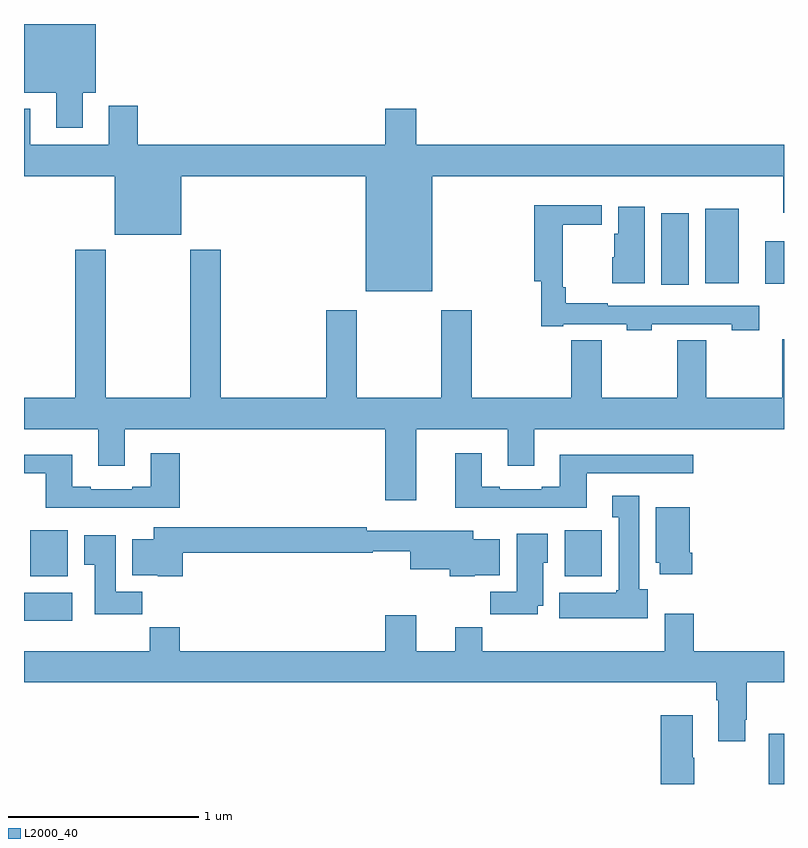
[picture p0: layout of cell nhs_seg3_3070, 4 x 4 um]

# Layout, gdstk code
import gdstk
lib = gdstk.Library(unit=1e-6, precision=1e-09)
def R(c, l, rs):  # rectangles x0, y0, x1, y1
    for r in rs: c.add(gdstk.rectangle(r[:2], r[2:], *l))
def P(c, l, *ps):  # polygons
    for p in ps: c.add(gdstk.Polygon(p, *l))
L2000_40 = (2000, 40)

nhs_seg3_3070 = lib.new_cell('nhs_seg3_3070')
R(nhs_seg3_3070, L2000_40, [(274.92,680.4,275,680.665), (271,681.26,271.255,681.406), (271.034,681.494,271.231,681.736), (273.845,681.494,274.042,681.736), (274.355,683.028,274.498,683.404), (274.901,683.033,275,683.257), (274.586,683.036,274.762,683.428)])
P(nhs_seg3_3070, L2000_40, [(271.309,684.038),(271.378,684.038),(271.378,684.4),(271,684.4),(271,684.038),(271.169,684.038),(271.169,683.853),(271.309,683.853)],
  [(273.148,683.6),(274.997,683.6),(274.997,683.406),(275,683.406),(275,683.764),(273.064,683.764),(273.064,683.953),(272.9,683.953),(272.9,683.764),(271.598,683.764),(271.598,683.971),(271.445,683.971),(271.445,683.764),(271.033,683.764),(271.033,683.953),(271,683.953),(271,683.6),(271.478,683.6),(271.478,683.291),(271.828,683.291),(271.828,683.6),(272.798,683.6),(272.798,682.994),(273.148,682.994)],
  [(274.305,682.821),(274.725,682.821),(274.725,682.789),(274.87,682.789),(274.87,682.917),(274.073,682.917),(274.073,682.93),(273.851,682.93),(273.851,683.014),(273.836,683.014),(273.836,683.344),(274.042,683.344),(274.042,683.446),(273.686,683.446),(273.686,683.045),(273.723,683.045),(273.723,682.809),(273.838,682.809),(273.838,682.821),(274.173,682.821),(274.173,682.789),(274.305,682.789)],
  [(274.267,683.437),(274.127,683.437),(274.127,683.295),(274.106,683.295),(274.106,683.172),(274.097,683.172),(274.097,683.036),(274.267,683.036)],
  [(273.064,682.268),(273.545,682.268),(273.545,682.074),(273.685,682.074),(273.685,682.268),(275,682.268),(275,682.741),(274.99,682.741),(274.99,682.432),(274.592,682.432),(274.592,682.736),(274.438,682.736),(274.438,682.432),(274.04,682.432),(274.04,682.736),(273.881,682.736),(273.881,682.432),(273.356,682.432),(273.356,682.894),(273.196,682.894),(273.196,682.432),(272.751,682.432),(272.751,682.894),(272.591,682.894),(272.591,682.432),(272.036,682.432),(272.036,683.212),(271.876,683.212),(271.876,682.432),(271.431,682.432),(271.431,683.212),(271.271,683.212),(271.271,682.432),(271,682.432),(271,682.268),(271.391,682.268),(271.391,682.074),(271.531,682.074),(271.531,682.268),(272.9,682.268),(272.9,681.894),(273.064,681.894)],
  [(271.82,682.141),(271.667,682.141),(271.667,681.964),(271.571,681.964),(271.571,681.951),(271.351,681.951),(271.351,681.964),(271.255,681.964),(271.255,682.132),(271,682.132),(271,682.035),(271.115,682.035),(271.115,681.854),(271.82,681.854)],
  [(273.961,682.035),(274.522,682.035),(274.522,682.132),(273.821,682.132),(273.821,681.964),(273.725,681.964),(273.725,681.951),(273.505,681.951),(273.505,681.964),(273.409,681.964),(273.409,682.141),(273.269,682.141),(273.269,681.854),(273.961,681.854)],
  [(274.282,681.426),(274.237,681.426),(274.237,681.916),(274.097,681.916),(274.097,681.803),(274.13,681.803),(274.13,681.42),(274.117,681.42),(274.117,681.406),(273.818,681.406),(273.818,681.272),(274.282,681.272)],
  [(274.517,681.616),(274.504,681.616),(274.504,681.856),(274.325,681.856),(274.325,681.564),(274.346,681.564),(274.346,681.504),(274.517,681.504)],
  [(271.835,681.616),(272.836,681.616),(272.836,681.624),(273.032,681.624),(273.032,681.53),(273.242,681.53),(273.242,681.494),(273.372,681.494),(273.372,681.5),(273.505,681.5),(273.505,681.688),(273.364,681.688),(273.364,681.733),(272.804,681.733),(272.804,681.752),(271.682,681.752),(271.682,681.688),(271.571,681.688),(271.571,681.5),(271.704,681.5),(271.704,681.494),(271.835,681.494)],
  [(273.703,681.338),(273.733,681.338),(273.733,681.564),(273.757,681.564),(273.757,681.718),(273.593,681.718),(273.593,681.412),(273.454,681.412),(273.454,681.294),(273.703,681.294)],
  [(271.622,681.412),(271.483,681.412),(271.483,681.709),(271.316,681.709),(271.316,681.553),(271.373,681.553),(271.373,681.294),(271.622,681.294)],
  [(274.795,680.737),(274.803,680.737),(274.803,680.936),(275,680.936),(275,681.1),(274.526,681.1),(274.526,681.295),(274.373,681.295),(274.373,681.1),(273.413,681.1),(273.413,681.224),(273.269,681.224),(273.269,681.1),(273.064,681.1),(273.064,681.289),(272.9,681.289),(272.9,681.1),(271.82,681.1),(271.82,681.224),(271.663,681.224),(271.663,681.1),(271,681.1),(271,680.936),(274.643,680.936),(274.643,680.84),(274.655,680.84),(274.655,680.625),(274.795,680.625)],
  [(274.527,680.537),(274.519,680.537),(274.519,680.761),(274.352,680.761),(274.352,680.4),(274.527,680.4)])

lib.write_gds('nhs_seg3_3070.gds')
